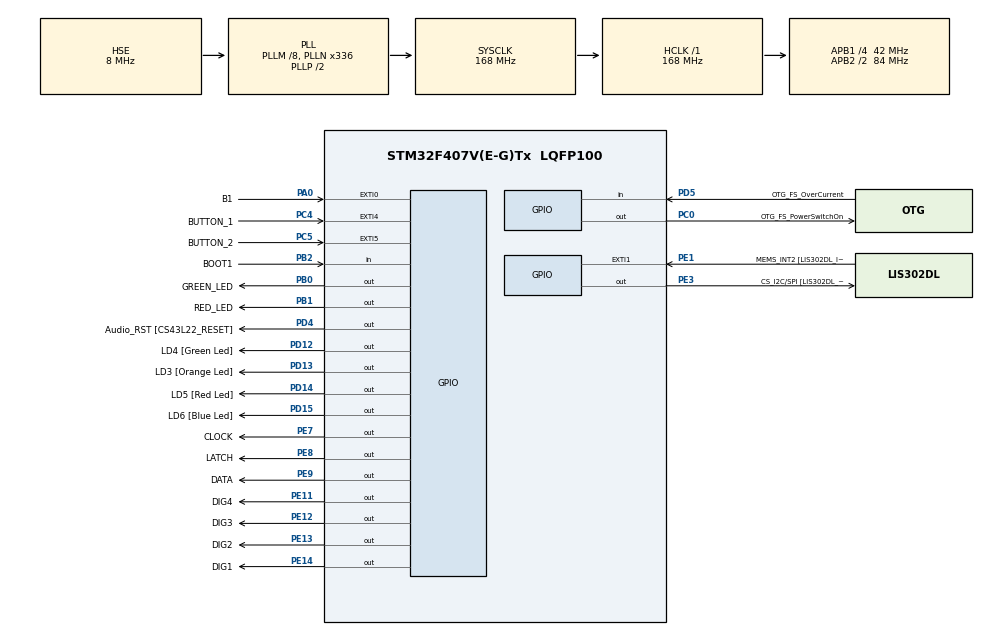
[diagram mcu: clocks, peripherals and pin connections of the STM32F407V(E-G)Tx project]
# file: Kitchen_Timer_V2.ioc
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Mcu.Family=STM32F4
Mcu.Name=STM32F407V(E-G)Tx
Mcu.Package=LQFP100
NVIC.EXTI0_IRQn=true\:0\:0\:false\:false\:true\:true\:true\:true
NVIC.EXTI4_IRQn=true\:0\:0\:false\:false\:true\:true\:true\:true
NVIC.EXTI9_5_IRQn=true\:0\:0\:false\:false\:true\:true\:true\:true
NVIC.PriorityGroup=NVIC_PRIORITYGROUP_0
NVIC.TIM2_IRQn=true\:0\:0\:false\:false\:true\:true\:true\:true
PA0-WKUP.GPIO_Label=B1
PA0-WKUP.Signal=GPXTI0
PA10.GPIO_Label=OTG_FS_ID
PA10.GPIO_Mode=GPIO_MODE_AF_PP
PA10.GPIO_PuPd=GPIO_NOPULL
PA10.GPIO_Speed=GPIO_SPEED_FREQ_LOW
PA10.Signal=USB_OTG_FS_ID
PA11.GPIO_Label=OTG_FS_DM
PA11.GPIO_Mode=GPIO_MODE_AF_PP
PA11.GPIO_PuPd=GPIO_NOPULL
PA11.GPIO_Speed=GPIO_SPEED_FREQ_LOW
PA11.Signal=USB_OTG_FS_DM
PA12.GPIO_Label=OTG_FS_DP
PA12.GPIO_Mode=GPIO_MODE_AF_PP
PA12.GPIO_PuPd=GPIO_NOPULL
PA12.GPIO_Speed=GPIO_SPEED_FREQ_LOW
PA12.Signal=USB_OTG_FS_DP
PA13.GPIO_Label=SWDIO
PA13.Mode=Serial_Wire
PA13.Signal=SYS_JTMS-SWDIO
PA14.GPIO_Label=SWCLK
PA14.Mode=Serial_Wire
PA14.Signal=SYS_JTCK-SWCLK
PA4.GPIO_Label=I2S3_WS [CS43L22_LRCK]
PA4.GPIO_Mode=GPIO_MODE_AF_PP
PA4.GPIO_PuPd=GPIO_NOPULL
PA4.GPIO_Speed=GPIO_SPEED_FREQ_LOW
PA4.Signal=I2S3_WS
PA5.GPIO_Label=SPI1_SCK [LIS302DL_SCL/SPC]
PA5.GPIO_Mode=GPIO_MODE_AF_PP
PA5.GPIO_PuPd=GPIO_NOPULL
PA5.GPIO_Speed=GPIO_SPEED_FREQ_LOW
PA5.Signal=SPI1_SCK
PA6.GPIO_Label=SPI1_MISO [LIS302DL_SDO]
PA6.GPIO_Mode=GPIO_MODE_AF_PP
PA6.GPIO_PuPd=GPIO_NOPULL
PA6.GPIO_Speed=GPIO_SPEED_FREQ_LOW
PA6.Signal=SPI1_MISO
PA7.GPIO_Label=SPI1_MOSI [LIS302DL_SDA/SDI/SDO]
PA7.GPIO_Mode=GPIO_MODE_AF_PP
PA7.GPIO_PuPd=GPIO_NOPULL
PA7.GPIO_Speed=GPIO_SPEED_FREQ_LOW
PA7.Signal=SPI1_MOSI
PA9.GPIO_Label=VBUS_FS
PA9.GPIO_Mode=GPIO_MODE_INPUT
PA9.GPIO_PuPd=GPIO_NOPULL
PA9.Signal=USB_OTG_FS_VBUS
PB0.GPIO_Label=GREEN_LED
PB0.Signal=GPIO_Output
PB1.GPIO_Label=RED_LED
PB1.Signal=GPIO_Output
PB10.GPIO_Label=CLK_IN [MP45DT02_CLK]
PB10.GPIO_Mode=GPIO_MODE_AF_PP
PB10.GPIO_PuPd=GPIO_NOPULL
PB10.GPIO_Speed=GPIO_SPEED_FREQ_LOW
PB10.Signal=I2S2_CK
PB2.GPIO_Label=BOOT1
PB2.GPIO_Mode=GPIO_MODE_INPUT
PB2.GPIO_PuPd=GPIO_NOPULL
PB2.Signal=GPIO_Input
PB3.GPIO_Label=SWO
PB3.Signal=SYS_JTDO-SWO
PB6.GPIO_Label=Audio_SCL [CS43L22_SCL]
PB6.GPIO_Mode=GPIO_MODE_AF_OD
PB6.GPIO_Pu=GPIO_PULLUP
PB6.GPIO_PuPd=GPIO_NOPULL
PB6.GPIO_Speed=GPIO_SPEED_FREQ_LOW
PB6.Signal=I2C1_SCL
PB9.GPIO_Label=Audio_SDA [CS43L22_SDA]
PB9.GPIO_Mode=GPIO_MODE_AF_OD
PB9.GPIO_Pu=GPIO_PULLUP
PB9.GPIO_PuPd=GPIO_NOPULL
PB9.GPIO_Speed=GPIO_SPEED_FREQ_LOW
PB9.Signal=I2C1_SDA
PC0.GPIO_Label=OTG_FS_PowerSwitchOn
PC0.GPIO_PuPd=GPIO_NOPULL
PC0.GPIO_Speed=GPIO_SPEED_FREQ_LOW
PC0.PinState=GPIO_PIN_SET
PC0.Signal=GPIO_Output
PC10.GPIO_Label=I2S3_SCK [CS43L22_SCLK]
PC10.GPIO_Mode=GPIO_MODE_AF_PP
PC10.GPIO_PuPd=GPIO_NOPULL
PC10.GPIO_Speed=GPIO_SPEED_FREQ_LOW
PC10.Signal=I2S3_CK
PC12.GPIO_Label=I2S3_SD [CS43L22_SDIN]
PC12.GPIO_Mode=GPIO_MODE_AF_PP
PC12.GPIO_PuPd=GPIO_NOPULL
PC12.GPIO_Speed=GPIO_SPEED_FREQ_LOW
PC12.Signal=I2S3_SD
PC14-OSC32_IN.GPIO_Label=PC14-OSC32_IN
PC14-OSC32_IN.Mode=LSE-External-Oscillator
PC14-OSC32_IN.Signal=RCC_OSC32_IN
PC15-OSC32_OUT.GPIO_Label=PC15-OSC32_OUT
PC15-OSC32_OUT.Mode=LSE-External-Oscillator
PC15-OSC32_OUT.Signal=RCC_OSC32_OUT
PC3.GPIO_Label=PDM_OUT [MP45DT02_DOUT]
PC3.GPIO_Mode=GPIO_MODE_AF_PP
PC3.GPIO_PuPd=GPIO_NOPULL
PC3.GPIO_Speed=GPIO_SPEED_FREQ_LOW
PC3.Signal=I2S2_SD
PC4.GPIO_Label=BUTTON_1
PC4.GPIO_ModeDefaultEXTI=GPIO_MODE_IT_RISING
PC4.Signal=GPXTI4
PC5.GPIO_Label=BUTTON_2
PC5.Signal=GPXTI5
PC7.GPIO_Label=I2S3_MCK [CS43L22_MCLK]
PC7.GPIO_Mode=GPIO_MODE_AF_PP
PC7.GPIO_PuPd=GPIO_NOPULL
PC7.GPIO_Speed=GPIO_SPEED_FREQ_LOW
PC7.Signal=I2S3_MCK
PD12.GPIO_Label=LD4 [Green Led]
PD12.GPIO_PuPd=GPIO_NOPULL
PD12.GPIO_Speed=GPIO_SPEED_FREQ_LOW
PD12.Signal=GPIO_Output
PD13.GPIO_Label=LD3 [Orange Led]
PD13.GPIO_PuPd=GPIO_NOPULL
PD13.GPIO_Speed=GPIO_SPEED_FREQ_LOW
PD13.Signal=GPIO_Output
PD14.GPIO_Label=LD5 [Red Led]
PD14.GPIO_PuPd=GPIO_NOPULL
PD14.GPIO_Speed=GPIO_SPEED_FREQ_LOW
PD14.Signal=GPIO_Output
PD15.GPIO_Label=LD6 [Blue Led]
PD15.GPIO_PuPd=GPIO_NOPULL
PD15.GPIO_Speed=GPIO_SPEED_FREQ_LOW
PD15.Signal=GPIO_Output
PD4.GPIO_Label=Audio_RST [CS43L22_RESET]
PD4.GPIO_PuPd=GPIO_NOPULL
PD4.GPIO_Speed=GPIO_SPEED_FREQ_LOW
PD4.Signal=GPIO_Output
PD5.GPIO_Label=OTG_FS_OverCurrent
PD5.GPIO_Mode=GPIO_MODE_INPUT
PD5.GPIO_PuPd=GPIO_NOPULL
PD5.Signal=GPIO_Input
PE1.GPIO_Label=MEMS_INT2 [LIS302DL_INT2]
PE1.GPIO_ModeDefaultEXTI=GPIO_MODE_EVT_RISING
PE1.GPIO_PuPd=GPIO_NOPULL
PE1.Signal=GPXTI1
PE11.GPIO_Label=DIG4
PE11.Signal=GPIO_Output
PE12.GPIO_Label=DIG3
PE12.Signal=GPIO_Output
PE13.GPIO_Label=DIG2
PE13.Signal=GPIO_Output
PE14.GPIO_Label=DIG1
PE14.Signal=GPIO_Output
PE3.GPIO_Label=CS_I2C/SPI [LIS302DL_CS_I2C/SPI]
PE3.GPIO_PuPd=GPIO_NOPULL
PE3.GPIO_Speed=GPIO_SPEED_FREQ_LOW
PE3.Signal=GPIO_Output
PE7.GPIO_Label=CLOCK
PE7.Signal=GPIO_Output
PE8.GPIO_Label=LATCH
PE8.Signal=GPIO_Output
PE9.GPIO_Label=DATA
PE9.Signal=GPIO_Output
PH0-OSC_IN.GPIO_Label=PH0-OSC_IN
PH0-OSC_IN.Mode=HSE-External-Oscillator
PH0-OSC_IN.Signal=RCC_OSC_IN
PH1-OSC_OUT.GPIO_Label=PH1-OSC_OUT
PH1-OSC_OUT.Mode=HSE-External-Oscillator
PH1-OSC_OUT.Signal=RCC_OSC_OUT
ProjectManager.HeapSize=0x200
ProjectManager.StackSize=0x400
ProjectManager.TargetToolchain=STM32CubeIDE
RCC.48MHZClocksFreq_Value=48000000
RCC.AHBFreq_Value=168000000
RCC.APB1CLKDivider=RCC_HCLK_DIV4
RCC.APB1Freq_Value=42000000
RCC.APB1TimFreq_Value=84000000
RCC.APB2CLKDivider=RCC_HCLK_DIV2
RCC.APB2Freq_Value=84000000
RCC.APB2TimFreq_Value=168000000
RCC.CortexFreq_Value=168000000
RCC.HCLKFreq_Value=168000000
RCC.HSE_VALUE=8000000
RCC.HSI_VALUE=16000000
RCC.PLLM=8
RCC.PLLN=336
RCC.PLLQ=7
RCC.PLLSourceVirtual=RCC_PLLSOURCE_HSE
RCC.SYSCLKFreq_VALUE=168000000
RCC.SYSCLKSource=RCC_SYSCLKSOURCE_PLLCLK
RCC.VCOOutputFreq_Value=336000000
TIM2.Period=20000
TIM2.Prescaler=4200
VP_TIM2_VS_ClockSourceINT.Mode=Internal
board=STM32F407G-DISC1

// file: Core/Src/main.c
/* USER CODE BEGIN Header */
/**
  ******************************************************************************
  * @file           : main.c
  * @brief          : Main program body
  ******************************************************************************
  * @attention
  *
  * Copyright (c) 2023 STMicroelectronics.
  * All rights reserved.
  *
  * This software is licensed under terms that can be found in the LICENSE file
  * in the root directory of this software component.
  * If no LICENSE file comes with this software, it is provided AS-IS.
  *
  ******************************************************************************
  */
/* USER CODE END Header */
#include "main.h"

/* USER CODE BEGIN PD */
#define MSBFIRST 0
#define LSBFIRST 1

/* USER CODE END PD */

TIM_HandleTypeDef htim2;

/* USER CODE BEGIN PV */
uint8_t gtable[]={0x3f,0x06,0x5b,0x4f,0x66,0x6d,0x7d,0x07,0x7f,0x6f,0x77,0x7c,0x39,0x5e,0x79,0x71,0x00};

/* USER CODE END PV */

void SystemClock_Config(void);
static void MX_GPIO_Init(void);
static void MX_TIM2_Init(void);

int main(void)
{

  /* MCU Configuration--------------------------------------------------------*/

  /* Reset of all peripherals, Initializes the Flash interface and the Systick. */
  HAL_Init();

  /* Configure the system clock */
  SystemClock_Config();

  /* Initialize all configured peripherals */
  MX_GPIO_Init();
  MX_TIM2_Init();
  /* USER CODE BEGIN 2 */
  HAL_TIM_Base_Start_IT(&htim2);

  /* USER CODE END 2 */

  /* Infinite loop */
  while (1)
  {

  }
}

void SystemClock_Config(void)
{
  RCC_OscInitTypeDef RCC_OscInitStruct = {0};
  RCC_ClkInitTypeDef RCC_ClkInitStruct = {0};

  /** Configure the main internal regulator output voltage
  */
  __HAL_RCC_PWR_CLK_ENABLE();
  __HAL_PWR_VOLTAGESCALING_CONFIG(PWR_REGULATOR_VOLTAGE_SCALE1);

  /** Initializes the RCC Oscillators according to the specified parameters
  * in the RCC_OscInitTypeDef structure.
  */
  RCC_OscInitStruct.OscillatorType = RCC_OSCILLATORTYPE_HSE;
  RCC_OscInitStruct.HSEState = RCC_HSE_ON;
  RCC_OscInitStruct.PLL.PLLState = RCC_PLL_ON;
  RCC_OscInitStruct.PLL.PLLSource = RCC_PLLSOURCE_HSE;
  RCC_OscInitStruct.PLL.PLLM = 8;
  RCC_OscInitStruct.PLL.PLLN = 336;
  RCC_OscInitStruct.PLL.PLLP = RCC_PLLP_DIV2;
  RCC_OscInitStruct.PLL.PLLQ = 7;
  if (HAL_RCC_OscConfig(&RCC_OscInitStruct) != HAL_OK)
  {
    Error_Handler();
  }

  /** Initializes the CPU, AHB and APB buses clocks
  */
  RCC_ClkInitStruct.ClockType = RCC_CLOCKTYPE_HCLK|RCC_CLOCKTYPE_SYSCLK
                              |RCC_CLOCKTYPE_PCLK1|RCC_CLOCKTYPE_PCLK2;
  RCC_ClkInitStruct.SYSCLKSource = RCC_SYSCLKSOURCE_PLLCLK;
  RCC_ClkInitStruct.AHBCLKDivider = RCC_SYSCLK_DIV1;
  RCC_ClkInitStruct.APB1CLKDivider = RCC_HCLK_DIV4;
  RCC_ClkInitStruct.APB2CLKDivider = RCC_HCLK_DIV2;

  if (HAL_RCC_ClockConfig(&RCC_ClkInitStruct, FLASH_LATENCY_5) != HAL_OK)
  {
    Error_Handler();
  }
}

static void MX_TIM2_Init(void)
{

  TIM_ClockConfigTypeDef sClockSourceConfig = {0};
  TIM_MasterConfigTypeDef sMasterConfig = {0};

  htim2.Instance = TIM2;
  htim2.Init.Prescaler = 4200;
  htim2.Init.CounterMode = TIM_COUNTERMODE_UP;
  htim2.Init.Period = 20000;
  htim2.Init.ClockDivision = TIM_CLOCKDIVISION_DIV1;
  htim2.Init.AutoReloadPreload = TIM_AUTORELOAD_PRELOAD_DISABLE;
  if (HAL_TIM_Base_Init(&htim2) != HAL_OK)
  {
    Error_Handler();
  }
  sClockSourceConfig.ClockSource = TIM_CLOCKSOURCE_INTERNAL;
  if (HAL_TIM_ConfigClockSource(&htim2, &sClockSourceConfig) != HAL_OK)
  {
    Error_Handler();
  }
  sMasterConfig.MasterOutputTrigger = TIM_TRGO_RESET;
  sMasterConfig.MasterSlaveMode = TIM_MASTERSLAVEMODE_DISABLE;
  if (HAL_TIMEx_MasterConfigSynchronization(&htim2, &sMasterConfig) != HAL_OK)
  {
    Error_Handler();
  }

}

static void MX_GPIO_Init(void)
{
  GPIO_InitTypeDef GPIO_InitStruct = {0};

  /* GPIO Ports Clock Enable */
  __HAL_RCC_GPIOE_CLK_ENABLE();
  __HAL_RCC_GPIOC_CLK_ENABLE();
  __HAL_RCC_GPIOH_CLK_ENABLE();
  __HAL_RCC_GPIOA_CLK_ENABLE();
  __HAL_RCC_GPIOB_CLK_ENABLE();
  __HAL_RCC_GPIOD_CLK_ENABLE();

  /*Configure GPIO pin Output Level */
  HAL_GPIO_WritePin(GPIOE, CS_I2C_SPI_Pin|CLOCK_Pin|LATCH_Pin|DATA_Pin
                          |DIG4_Pin|DIG3_Pin|DIG2_Pin|DIG1_Pin, GPIO_PIN_RESET);

  /*Configure GPIO pin Output Level */
  HAL_GPIO_WritePin(OTG_FS_PowerSwitchOn_GPIO_Port, OTG_FS_PowerSwitchOn_Pin, GPIO_PIN_SET);

  /*Configure GPIO pin Output Level */
  HAL_GPIO_WritePin(GPIOB, GREEN_LED_Pin|RED_LED_Pin, GPIO_PIN_RESET);

  /*Configure GPIO pin Output Level */
  HAL_GPIO_WritePin(GPIOD, LD4_Pin|LD3_Pin|LD5_Pin|LD6_Pin
                          |Audio_RST_Pin, GPIO_PIN_RESET);

  /*Configure GPIO pins : CS_I2C_SPI_Pin CLOCK_Pin LATCH_Pin DATA_Pin
                           DIG4_Pin DIG3_Pin DIG2_Pin DIG1_Pin */
  GPIO_InitStruct.Pin = CS_I2C_SPI_Pin|CLOCK_Pin|LATCH_Pin|DATA_Pin
                          |DIG4_Pin|DIG3_Pin|DIG2_Pin|DIG1_Pin;
  GPIO_InitStruct.Mode = GPIO_MODE_OUTPUT_PP;
  GPIO_InitStruct.Pull = GPIO_NOPULL;
  GPIO_InitStruct.Speed = GPIO_SPEED_FREQ_LOW;
  HAL_GPIO_Init(GPIOE, &GPIO_InitStruct);

  /*Configure GPIO pin : OTG_FS_PowerSwitchOn_Pin */
  GPIO_InitStruct.Pin = OTG_FS_PowerSwitchOn_Pin;
  GPIO_InitStruct.Mode = GPIO_MODE_OUTPUT_PP;
  GPIO_InitStruct.Pull = GPIO_NOPULL;
  GPIO_InitStruct.Speed = GPIO_SPEED_FREQ_LOW;
  HAL_GPIO_Init(OTG_FS_PowerSwitchOn_GPIO_Port, &GPIO_InitStruct);

  /*Configure GPIO pin : PDM_OUT_Pin */
  GPIO_InitStruct.Pin = PDM_OUT_Pin;
  GPIO_InitStruct.Mode = GPIO_MODE_AF_PP;
  GPIO_InitStruct.Pull = GPIO_NOPULL;
  GPIO_InitStruct.Speed = GPIO_SPEED_FREQ_LOW;
  GPIO_InitStruct.Alternate = GPIO_AF5_SPI2;
  HAL_GPIO_Init(PDM_OUT_GPIO_Port, &GPIO_InitStruct);

  /*Configure GPIO pin : B1_Pin */
  GPIO_InitStruct.Pin = B1_Pin;
  GPIO_InitStruct.Mode = GPIO_MODE_IT_RISING;
  GPIO_InitStruct.Pull = GPIO_NOPULL;
  HAL_GPIO_Init(B1_GPIO_Port, &GPIO_InitStruct);

  /*Configure GPIO pin : I2S3_WS_Pin */
  GPIO_InitStruct.Pin = I2S3_WS_Pin;
  GPIO_InitStruct.Mode = GPIO_MODE_AF_PP;
  GPIO_InitStruct.Pull = GPIO_NOPULL;
  GPIO_InitStruct.Speed = GPIO_SPEED_FREQ_LOW;
  GPIO_InitStruct.Alternate = GPIO_AF6_SPI3;
  HAL_GPIO_Init(I2S3_WS_GPIO_Port, &GPIO_InitStruct);

  /*Configure GPIO pins : SPI1_SCK_Pin SPI1_MISO_Pin SPI1_MOSI_Pin */
  GPIO_InitStruct.Pin = SPI1_SCK_Pin|SPI1_MISO_Pin|SPI1_MOSI_Pin;
  GPIO_InitStruct.Mode = GPIO_MODE_AF_PP;
  GPIO_InitStruct.Pull = GPIO_NOPULL;
  GPIO_InitStruct.Speed = GPIO_SPEED_FREQ_LOW;
  GPIO_InitStruct.Alternate = GPIO_AF5_SPI1;
  HAL_GPIO_Init(GPIOA, &GPIO_InitStruct);

  /*Configure GPIO pins : BUTTON_1_Pin BUTTON_2_Pin */
  GPIO_InitStruct.Pin = BUTTON_1_Pin|BUTTON_2_Pin;
  GPIO_InitStruct.Mode = GPIO_MODE_IT_RISING;
  GPIO_InitStruct.Pull = GPIO_NOPULL;
  HAL_GPIO_Init(GPIOC, &GPIO_InitStruct);

  /*Configure GPIO pins : GREEN_LED_Pin RED_LED_Pin */
  GPIO_InitStruct.Pin = GREEN_LED_Pin|RED_LED_Pin;
  GPIO_InitStruct.Mode = GPIO_MODE_OUTPUT_PP;
  GPIO_InitStruct.Pull = GPIO_NOPULL;
  GPIO_InitStruct.Speed = GPIO_SPEED_FREQ_LOW;
  HAL_GPIO_Init(GPIOB, &GPIO_InitStruct);

  /*Configure GPIO pin : BOOT1_Pin */
  GPIO_InitStruct.Pin = BOOT1_Pin;
  GPIO_InitStruct.Mode = GPIO_MODE_INPUT;
  GPIO_InitStruct.Pull = GPIO_NOPULL;
  HAL_GPIO_Init(BOOT1_GPIO_Port, &GPIO_InitStruct);

  /*Configure GPIO pin : CLK_IN_Pin */
  GPIO_InitStruct.Pin = CLK_IN_Pin;
  GPIO_InitStruct.Mode = GPIO_MODE_AF_PP;
  GPIO_InitStruct.Pull = GPIO_NOPULL;
  GPIO_InitStruct.Speed = GPIO_SPEED_FREQ_LOW;
  GPIO_InitStruct.Alternate = GPIO_AF5_SPI2;
  HAL_GPIO_Init(CLK_IN_GPIO_Port, &GPIO_InitStruct);

  /*Configure GPIO pins : LD4_Pin LD3_Pin LD5_Pin LD6_Pin
                           Audio_RST_Pin */
  GPIO_InitStruct.Pin = LD4_Pin|LD3_Pin|LD5_Pin|LD6_Pin
                          |Audio_RST_Pin;
  GPIO_InitStruct.Mode = GPIO_MODE_OUTPUT_PP;
  GPIO_InitStruct.Pull = GPIO_NOPULL;
  GPIO_InitStruct.Speed = GPIO_SPEED_FREQ_LOW;
  HAL_GPIO_Init(GPIOD, &GPIO_InitStruct);

  /*Configure GPIO pins : I2S3_MCK_Pin I2S3_SCK_Pin I2S3_SD_Pin */
  GPIO_InitStruct.Pin = I2S3_MCK_Pin|I2S3_SCK_Pin|I2S3_SD_Pin;
  GPIO_InitStruct.Mode = GPIO_MODE_AF_PP;
  GPIO_InitStruct.Pull = GPIO_NOPULL;
  GPIO_InitStruct.Speed = GPIO_SPEED_FREQ_LOW;
  GPIO_InitStruct.Alternate = GPIO_AF6_SPI3;
  HAL_GPIO_Init(GPIOC, &GPIO_InitStruct);

  /*Configure GPIO pin : VBUS_FS_Pin */
  GPIO_InitStruct.Pin = VBUS_FS_Pin;
  GPIO_InitStruct.Mode = GPIO_MODE_INPUT;
  GPIO_InitStruct.Pull = GPIO_NOPULL;
  HAL_GPIO_Init(VBUS_FS_GPIO_Port, &GPIO_InitStruct);

  /*Configure GPIO pins : OTG_FS_ID_Pin OTG_FS_DM_Pin OTG_FS_DP_Pin */
  GPIO_InitStruct.Pin = OTG_FS_ID_Pin|OTG_FS_DM_Pin|OTG_FS_DP_Pin;
  GPIO_InitStruct.Mode = GPIO_MODE_AF_PP;
  GPIO_InitStruct.Pull = GPIO_NOPULL;
  GPIO_InitStruct.Speed = GPIO_SPEED_FREQ_LOW;
  GPIO_InitStruct.Alternate = GPIO_AF10_OTG_FS;
  HAL_GPIO_Init(GPIOA, &GPIO_InitStruct);

  /*Configure GPIO pin : OTG_FS_OverCurrent_Pin */
  GPIO_InitStruct.Pin = OTG_FS_OverCurrent_Pin;
  GPIO_InitStruct.Mode = GPIO_MODE_INPUT;
  GPIO_InitStruct.Pull = GPIO_NOPULL;
  HAL_GPIO_Init(OTG_FS_OverCurrent_GPIO_Port, &GPIO_InitStruct);

  /*Configure GPIO pins : Audio_SCL_Pin Audio_SDA_Pin */
  GPIO_InitStruct.Pin = Audio_SCL_Pin|Audio_SDA_Pin;
  GPIO_InitStruct.Mode = GPIO_MODE_AF_OD;
  GPIO_InitStruct.Pull = GPIO_PULLUP;
  GPIO_InitStruct.Speed = GPIO_SPEED_FREQ_LOW;
  GPIO_InitStruct.Alternate = GPIO_AF4_I2C1;
  HAL_GPIO_Init(GPIOB, &GPIO_InitStruct);

  /*Configure GPIO pin : MEMS_INT2_Pin */
  GPIO_InitStruct.Pin = MEMS_INT2_Pin;
  GPIO_InitStruct.Mode = GPIO_MODE_EVT_RISING;
  GPIO_InitStruct.Pull = GPIO_NOPULL;
  HAL_GPIO_Init(MEMS_INT2_GPIO_Port, &GPIO_InitStruct);

  /* EXTI interrupt init*/
  HAL_NVIC_SetPriority(EXTI0_IRQn, 0, 0);
  HAL_NVIC_EnableIRQ(EXTI0_IRQn);

  HAL_NVIC_SetPriority(EXTI4_IRQn, 0, 0);
  HAL_NVIC_EnableIRQ(EXTI4_IRQn);

  HAL_NVIC_SetPriority(EXTI9_5_IRQn, 0, 0);
  HAL_NVIC_EnableIRQ(EXTI9_5_IRQn);

}

/* USER CODE BEGIN 4 */
void HAL_GPIO_EXTI_Callback(uint16_t GPIO_Pin)
{
	if(GPIO_Pin == B1_Pin)
	{
		HAL_GPIO_TogglePin(GPIOD, LD5_Pin);
	}
}

void HAL_TIM_PeriodElapsedCallback(TIM_HandleTypeDef *htim)
{
	if( htim == &htim2)
	{
		HAL_GPIO_TogglePin(GPIOD, LD4_Pin);
	}
}

// Define the shiftOut function
void shiftOut(uint8_t dataPin, uint8_t clockPin, uint8_t bitOrder, uint8_t val)
{
  uint8_t i;

  // Set the bit order
  if (bitOrder == LSBFIRST)
  {
    for (i = 0; i < 8; i++)
    {
      if (val & (1 << i))
      {
        HAL_GPIO_WritePin(GPIOE, dataPin, GPIO_PIN_SET);
      }
      else
      {
        HAL_GPIO_WritePin(GPIOE, dataPin, GPIO_PIN_RESET);
      }
      HAL_GPIO_WritePin(GPIOE, clockPin, GPIO_PIN_SET);
      //delay_us(1);
      HAL_GPIO_WritePin(GPIOE, clockPin, GPIO_PIN_RESET);
    }
  }
  else
  {
    for (i = 0; i < 8; i++)
    {
      if (val & (1 << (7 - i)))
      {
        HAL_GPIO_WritePin(GPIOE, dataPin, GPIO_PIN_SET);
      }
      else
      {
        HAL_GPIO_WritePin(GPIOE, dataPin, GPIO_PIN_RESET);
      }
      HAL_GPIO_WritePin(GPIOE, clockPin, GPIO_PIN_SET);
      //delay_us(1);
      HAL_GPIO_WritePin(GPIOE, clockPin, GPIO_PIN_RESET);
    }
  }
}

void display(uint8_t num, uint8_t dp)
{
  HAL_GPIO_WritePin(GPIOE, LATCH_Pin, GPIO_PIN_RESET);
  shiftOut(DATA_Pin, CLOCK_Pin, MSBFIRST, gtable[num] | (dp<<7));
  HAL_GPIO_WritePin(GPIOE, LATCH_Pin, GPIO_PIN_SET);
}

/* USER CODE END 4 */

void Error_Handler(void)
{
  __disable_irq();
  while (1)
  {
  }
}
